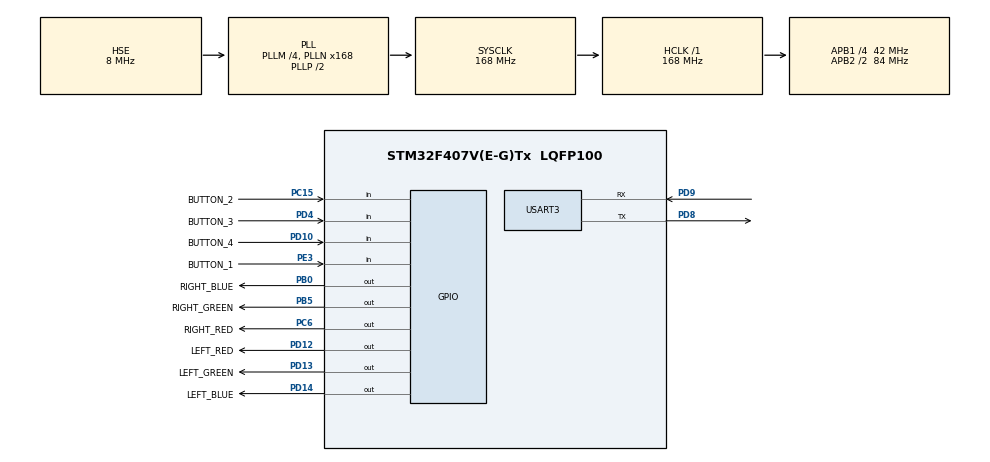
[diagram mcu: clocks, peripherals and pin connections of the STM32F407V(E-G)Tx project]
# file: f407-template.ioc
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Mcu.Family=STM32F4
Mcu.Name=STM32F407V(E-G)Tx
Mcu.Package=LQFP100
NVIC.PriorityGroup=NVIC_PRIORITYGROUP_4
NVIC.TIM1_UP_TIM10_IRQn=true\:15\:0\:false\:false\:true\:false\:true\:true
NVIC.TimeBase=TIM1_UP_TIM10_IRQn
NVIC.TimeBaseIP=TIM1
NVIC.USART3_IRQn=true\:0\:0\:false\:true\:true\:1\:true\:true\:true
PA13.Mode=Serial_Wire
PA13.Signal=SYS_JTMS-SWDIO
PA14.Mode=Serial_Wire
PA14.Signal=SYS_JTCK-SWCLK
PB0.GPIO_Label=RIGHT_BLUE
PB0.GPIO_ModeDefaultOutputPP=GPIO_MODE_OUTPUT_PP
PB0.GPIO_PuPd=GPIO_NOPULL
PB0.GPIO_Speed=GPIO_SPEED_FREQ_LOW
PB0.PinState=GPIO_PIN_SET
PB0.Signal=GPIO_Output
PB5.GPIO_Label=RIGHT_GREEN
PB5.GPIO_ModeDefaultOutputPP=GPIO_MODE_OUTPUT_PP
PB5.GPIO_PuPd=GPIO_NOPULL
PB5.GPIO_Speed=GPIO_SPEED_FREQ_LOW
PB5.PinState=GPIO_PIN_SET
PB5.Signal=GPIO_Output
PC15-OSC32_OUT.GPIO_Label=BUTTON_2
PC15-OSC32_OUT.Signal=GPIO_Input
PC6.GPIO_Label=RIGHT_RED
PC6.GPIO_ModeDefaultOutputPP=GPIO_MODE_OUTPUT_PP
PC6.GPIO_PuPd=GPIO_NOPULL
PC6.GPIO_Speed=GPIO_SPEED_FREQ_LOW
PC6.PinState=GPIO_PIN_SET
PC6.Signal=GPIO_Output
PD10.GPIO_Label=BUTTON_4
PD10.Signal=GPIO_Input
PD12.GPIO_Label=LEFT_RED
PD12.GPIO_ModeDefaultOutputPP=GPIO_MODE_OUTPUT_PP
PD12.GPIO_PuPd=GPIO_NOPULL
PD12.GPIO_Speed=GPIO_SPEED_FREQ_LOW
PD12.PinState=GPIO_PIN_SET
PD12.Signal=GPIO_Output
PD13.GPIO_Label=LEFT_GREEN
PD13.GPIO_ModeDefaultOutputPP=GPIO_MODE_OUTPUT_PP
PD13.GPIO_PuPd=GPIO_NOPULL
PD13.GPIO_Speed=GPIO_SPEED_FREQ_LOW
PD13.PinState=GPIO_PIN_SET
PD13.Signal=GPIO_Output
PD14.GPIO_Label=LEFT_BLUE
PD14.GPIO_ModeDefaultOutputPP=GPIO_MODE_OUTPUT_PP
PD14.GPIO_PuPd=GPIO_NOPULL
PD14.GPIO_Speed=GPIO_SPEED_FREQ_LOW
PD14.PinState=GPIO_PIN_SET
PD14.Signal=GPIO_Output
PD4.GPIO_Label=BUTTON_3
PD4.Signal=GPIO_Input
PD8.Mode=Asynchronous
PD8.Signal=USART3_TX
PD9.Mode=Asynchronous
PD9.Signal=USART3_RX
PE3.GPIO_Label=BUTTON_1
PE3.Signal=GPIO_Input
PH0-OSC_IN.Mode=HSE-External-Oscillator
PH0-OSC_IN.Signal=RCC_OSC_IN
PH1-OSC_OUT.Mode=HSE-External-Oscillator
PH1-OSC_OUT.Signal=RCC_OSC_OUT
ProjectManager.HeapSize=0x200
ProjectManager.StackSize=0x400
ProjectManager.TargetToolchain=STM32CubeIDE
RCC.48MHZClocksFreq_Value=84000000
RCC.AHBFreq_Value=168000000
RCC.APB1CLKDivider=RCC_HCLK_DIV4
RCC.APB1Freq_Value=42000000
RCC.APB1TimFreq_Value=84000000
RCC.APB2CLKDivider=RCC_HCLK_DIV2
RCC.APB2Freq_Value=84000000
RCC.APB2TimFreq_Value=168000000
RCC.CortexFreq_Value=168000000
RCC.HCLKFreq_Value=168000000
RCC.HSE_VALUE=8000000
RCC.HSI_VALUE=16000000
RCC.LSE_VALUE=32768
RCC.PLLM=4
RCC.PLLN=168
RCC.PLLSourceVirtual=RCC_PLLSOURCE_HSE
RCC.SYSCLKFreq_VALUE=168000000
RCC.SYSCLKSource=RCC_SYSCLKSOURCE_PLLCLK
RCC.VCOOutputFreq_Value=336000000
USART3.VirtualMode=VM_ASYNC
VP_SYS_VS_tim1.Mode=TIM1
board=custom

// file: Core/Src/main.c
/* USER CODE BEGIN Header */
/**
  ******************************************************************************
  * @file           : main.c
  * @brief          : Main program body
  ******************************************************************************
  * @attention
  *
  * Copyright (c) 2025 STMicroelectronics.
  * All rights reserved.
  *
  * This software is licensed under terms that can be found in the LICENSE file
  * in the root directory of this software component.
  * If no LICENSE file comes with this software, it is provided AS-IS.
  *
  ******************************************************************************
  */
/* USER CODE END Header */
#include "main.h"

/* USER CODE BEGIN Includes */
#include <general_input_class.h>
#include <general_output_class.h>
#include <input_listener_class.h>
/* USER CODE END Includes */

UART_HandleTypeDef huart3;

void SystemClock_Config(void);
static void MX_GPIO_Init(void);
static void MX_USART3_UART_Init(void);
static void MX_NVIC_Init(void);
/* USER CODE BEGIN PFP */
void create_instance(void);
/* USER CODE END PFP */

/* USER CODE BEGIN 0 */
int _write(int file, char *ptr, int len)
{
  HAL_UART_Transmit(&huart3, (uint8_t*) ptr, len, 10);

  return len;
}
/* USER CODE END 0 */

int main(void)
{

  /* MCU Configuration--------------------------------------------------------*/

  /* Reset of all peripherals, Initializes the Flash interface and the Systick. */
  HAL_Init();

  /* Configure the system clock */
  SystemClock_Config();

  /* Initialize all configured peripherals */
  MX_GPIO_Init();
  MX_USART3_UART_Init();

  /* Initialize interrupts */
  MX_NVIC_Init();

  /* Infinite loop */
  /* USER CODE BEGIN WHILE */
//  IInput* button = new_GeneralInput(BUTTON_1_GPIO_Port, BUTTON_1_Pin, NOMAL_CLOSE);
  IOutput* left_red = new_GeneralOutput(LEFT_RED_GPIO_Port, LEFT_RED_Pin, ACTIVE_LOW);
  IOutput* right_red = new_GeneralOutput(RIGHT_RED_GPIO_Port, RIGHT_RED_Pin, ACTIVE_LOW);
  IInput*  button = new_GeneralInput(BUTTON_1_GPIO_Port, BUTTON_1_Pin, NOMAL_CLOSE);

  IEventListener* button_listener = new_InputListener(button);
  button_listener->add_event_listener(button_listener, RISING_EDGE, left_red->toggle, left_red);
  button_listener->add_event_listener(button_listener, FALLING_EDGE, right_red->toggle, right_red);

  while (1)
  {

    /* USER CODE END WHILE */

  }
}

void SystemClock_Config(void)
{
  RCC_OscInitTypeDef RCC_OscInitStruct = {0};
  RCC_ClkInitTypeDef RCC_ClkInitStruct = {0};

  /** Configure the main internal regulator output voltage
  */
  __HAL_RCC_PWR_CLK_ENABLE();
  __HAL_PWR_VOLTAGESCALING_CONFIG(PWR_REGULATOR_VOLTAGE_SCALE1);

  /** Initializes the RCC Oscillators according to the specified parameters
  * in the RCC_OscInitTypeDef structure.
  */
  RCC_OscInitStruct.OscillatorType = RCC_OSCILLATORTYPE_HSE;
  RCC_OscInitStruct.HSEState = RCC_HSE_ON;
  RCC_OscInitStruct.PLL.PLLState = RCC_PLL_ON;
  RCC_OscInitStruct.PLL.PLLSource = RCC_PLLSOURCE_HSE;
  RCC_OscInitStruct.PLL.PLLM = 4;
  RCC_OscInitStruct.PLL.PLLN = 168;
  RCC_OscInitStruct.PLL.PLLP = RCC_PLLP_DIV2;
  RCC_OscInitStruct.PLL.PLLQ = 4;
  if (HAL_RCC_OscConfig(&RCC_OscInitStruct) != HAL_OK)
  {
    Error_Handler();
  }

  /** Initializes the CPU, AHB and APB buses clocks
  */
  RCC_ClkInitStruct.ClockType = RCC_CLOCKTYPE_HCLK|RCC_CLOCKTYPE_SYSCLK
                              |RCC_CLOCKTYPE_PCLK1|RCC_CLOCKTYPE_PCLK2;
  RCC_ClkInitStruct.SYSCLKSource = RCC_SYSCLKSOURCE_PLLCLK;
  RCC_ClkInitStruct.AHBCLKDivider = RCC_SYSCLK_DIV1;
  RCC_ClkInitStruct.APB1CLKDivider = RCC_HCLK_DIV4;
  RCC_ClkInitStruct.APB2CLKDivider = RCC_HCLK_DIV2;

  if (HAL_RCC_ClockConfig(&RCC_ClkInitStruct, FLASH_LATENCY_5) != HAL_OK)
  {
    Error_Handler();
  }
}

/**
  * @brief NVIC Configuration.
  * @retval None
  */
static void MX_NVIC_Init(void)
{
  /* USART3_IRQn interrupt configuration */
  HAL_NVIC_SetPriority(USART3_IRQn, 0, 0);
  HAL_NVIC_EnableIRQ(USART3_IRQn);
}

static void MX_USART3_UART_Init(void)
{

  huart3.Instance = USART3;
  huart3.Init.BaudRate = 115200;
  huart3.Init.WordLength = UART_WORDLENGTH_8B;
  huart3.Init.StopBits = UART_STOPBITS_1;
  huart3.Init.Parity = UART_PARITY_NONE;
  huart3.Init.Mode = UART_MODE_TX_RX;
  huart3.Init.HwFlowCtl = UART_HWCONTROL_NONE;
  huart3.Init.OverSampling = UART_OVERSAMPLING_16;
  if (HAL_UART_Init(&huart3) != HAL_OK)
  {
    Error_Handler();
  }

}

static void MX_GPIO_Init(void)
{
  GPIO_InitTypeDef GPIO_InitStruct = {0};

  /* GPIO Ports Clock Enable */
  __HAL_RCC_GPIOE_CLK_ENABLE();
  __HAL_RCC_GPIOC_CLK_ENABLE();
  __HAL_RCC_GPIOH_CLK_ENABLE();
  __HAL_RCC_GPIOB_CLK_ENABLE();
  __HAL_RCC_GPIOD_CLK_ENABLE();
  __HAL_RCC_GPIOA_CLK_ENABLE();

  /*Configure GPIO pin Output Level */
  HAL_GPIO_WritePin(GPIOB, RIGHT_BLUE_Pin|RIGHT_GREEN_Pin, GPIO_PIN_SET);

  /*Configure GPIO pin Output Level */
  HAL_GPIO_WritePin(GPIOD, LEFT_RED_Pin|LEFT_GREEN_Pin|LEFT_BLUE_Pin, GPIO_PIN_SET);

  /*Configure GPIO pin Output Level */
  HAL_GPIO_WritePin(RIGHT_RED_GPIO_Port, RIGHT_RED_Pin, GPIO_PIN_SET);

  /*Configure GPIO pin : BUTTON_1_Pin */
  GPIO_InitStruct.Pin = BUTTON_1_Pin;
  GPIO_InitStruct.Mode = GPIO_MODE_INPUT;
  GPIO_InitStruct.Pull = GPIO_NOPULL;
  HAL_GPIO_Init(BUTTON_1_GPIO_Port, &GPIO_InitStruct);

  /*Configure GPIO pin : BUTTON_2_Pin */
  GPIO_InitStruct.Pin = BUTTON_2_Pin;
  GPIO_InitStruct.Mode = GPIO_MODE_INPUT;
  GPIO_InitStruct.Pull = GPIO_NOPULL;
  HAL_GPIO_Init(BUTTON_2_GPIO_Port, &GPIO_InitStruct);

  /*Configure GPIO pins : RIGHT_BLUE_Pin RIGHT_GREEN_Pin */
  GPIO_InitStruct.Pin = RIGHT_BLUE_Pin|RIGHT_GREEN_Pin;
  GPIO_InitStruct.Mode = GPIO_MODE_OUTPUT_PP;
  GPIO_InitStruct.Pull = GPIO_NOPULL;
  GPIO_InitStruct.Speed = GPIO_SPEED_FREQ_LOW;
  HAL_GPIO_Init(GPIOB, &GPIO_InitStruct);

  /*Configure GPIO pins : BUTTON_4_Pin BUTTON_3_Pin */
  GPIO_InitStruct.Pin = BUTTON_4_Pin|BUTTON_3_Pin;
  GPIO_InitStruct.Mode = GPIO_MODE_INPUT;
  GPIO_InitStruct.Pull = GPIO_NOPULL;
  HAL_GPIO_Init(GPIOD, &GPIO_InitStruct);

  /*Configure GPIO pins : LEFT_RED_Pin LEFT_GREEN_Pin LEFT_BLUE_Pin */
  GPIO_InitStruct.Pin = LEFT_RED_Pin|LEFT_GREEN_Pin|LEFT_BLUE_Pin;
  GPIO_InitStruct.Mode = GPIO_MODE_OUTPUT_PP;
  GPIO_InitStruct.Pull = GPIO_NOPULL;
  GPIO_InitStruct.Speed = GPIO_SPEED_FREQ_LOW;
  HAL_GPIO_Init(GPIOD, &GPIO_InitStruct);

  /*Configure GPIO pin : RIGHT_RED_Pin */
  GPIO_InitStruct.Pin = RIGHT_RED_Pin;
  GPIO_InitStruct.Mode = GPIO_MODE_OUTPUT_PP;
  GPIO_InitStruct.Pull = GPIO_NOPULL;
  GPIO_InitStruct.Speed = GPIO_SPEED_FREQ_LOW;
  HAL_GPIO_Init(RIGHT_RED_GPIO_Port, &GPIO_InitStruct);

}

/* USER CODE BEGIN 4 */

void HAL_UARTEx_RxEventCallback(UART_HandleTypeDef *huart, uint16_t Size)
{
	if (huart->Instance == USART3)
	{

	}
//    if (huart->Instance == USART3)
//    {
////        uart->set_rx_ready(uart, true);
////        uart->set_rx_received_length(uart, Size);
////
////        if (uart->on_receive_callback)
////        {
////            uart->on_receive_callback(user_buffer, Size);
////        }
//    	HAL_UARTEx_ReceiveToIdle_IT(huart, user_buffer, 10);
//    }
}

//void HAL_UART_TxCpltCallback(UART_HandleTypeDef *huart)
//{
//    if (huart->Instance == USART3)
//    {
//    	uart->set_tx_done(uart, true);
//    }
//}

/* USER CODE END 4 */

void HAL_TIM_PeriodElapsedCallback(TIM_HandleTypeDef *htim)
{
  if (htim->Instance == TIM1)
  {
    HAL_IncTick();
  }
}

void Error_Handler(void)
{
  __disable_irq();
  while (1)
  {
  }
}
